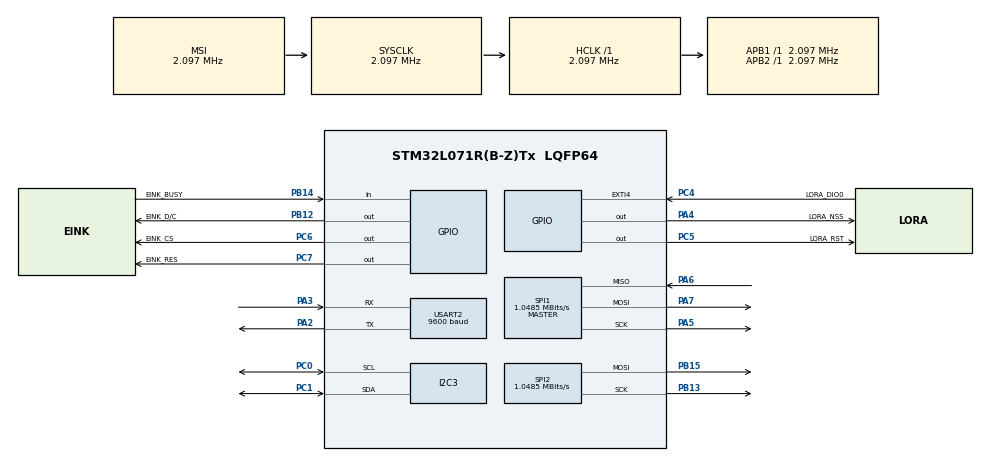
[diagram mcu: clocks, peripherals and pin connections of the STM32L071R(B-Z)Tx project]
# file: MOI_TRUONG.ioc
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I2C3.Timing=0x00000608
Mcu.Family=STM32L0
Mcu.Name=STM32L071R(B-Z)Tx
Mcu.Package=LQFP64
PA13.Mode=Serial_Wire
PA13.Signal=SYS_SWDIO
PA14.Mode=Serial_Wire
PA14.Signal=SYS_SWCLK
PA2.Mode=Asynchronous
PA2.Signal=USART2_TX
PA3.Mode=Asynchronous
PA3.Signal=USART2_RX
PA4.GPIO_Label=LORA_NSS
PA4.GPIO_PuPd=GPIO_PULLUP
PA4.PinState=GPIO_PIN_SET
PA4.Signal=GPIO_Output
PA5.Mode=Full_Duplex_Master
PA5.Signal=SPI1_SCK
PA6.Mode=Full_Duplex_Master
PA6.Signal=SPI1_MISO
PA7.Mode=Full_Duplex_Master
PA7.Signal=SPI1_MOSI
PB12.GPIO_Label=EINK_D/C
PB12.GPIO_ModeDefaultOutputPP=GPIO_MODE_OUTPUT_PP
PB12.GPIO_PuPd=GPIO_PULLUP
PB12.PinState=GPIO_PIN_SET
PB12.Signal=GPIO_Output
PB13.Mode=TX_Only_Simplex_Unidirect_Master
PB13.Signal=SPI2_SCK
PB14.GPIO_Label=EINK_BUSY
PB14.Signal=GPIO_Input
PB15.Mode=TX_Only_Simplex_Unidirect_Master
PB15.Signal=SPI2_MOSI
PC0.Mode=I2C
PC0.Signal=I2C3_SCL
PC1.Mode=I2C
PC1.Signal=I2C3_SDA
PC4.GPIO_Label=LORA_DIO0
PC4.GPIO_ModeDefaultEXTI=GPIO_MODE_IT_RISING
PC4.GPIO_PuPd=GPIO_PULLDOWN
PC4.Signal=GPXTI4
PC5.GPIO_Label=LORA_RST
PC5.GPIO_PuPd=GPIO_PULLUP
PC5.PinState=GPIO_PIN_SET
PC5.Signal=GPIO_Output
PC6.GPIO_Label=EINK_CS
PC6.GPIO_PuPd=GPIO_PULLUP
PC6.PinState=GPIO_PIN_SET
PC6.Signal=GPIO_Output
PC7.GPIO_Label=EINK_RES
PC7.GPIO_PuPd=GPIO_PULLUP
PC7.PinState=GPIO_PIN_SET
PC7.Signal=GPIO_Output
ProjectManager.HeapSize=0x200
ProjectManager.StackSize=0x400
ProjectManager.TargetToolchain=CMake
RCC.AHBFreq_Value=2097000
RCC.APB1Freq_Value=2097000
RCC.APB1TimFreq_Value=2097000
RCC.APB2Freq_Value=2097000
RCC.APB2TimFreq_Value=2097000
RCC.HSE_VALUE=8000000
RCC.HSI16_VALUE=16000000
RCC.HSI_VALUE=16000000
RCC.LSE_VALUE=32768
RCC.MSI_VALUE=2097000
RCC.PWR_Regulator_Voltage_Scale=PWR_REGULATOR_VOLTAGE_SCALE3
RCC.SYSCLKFreq_VALUE=2097000
RCC.VCOOutputFreq_Value=48000000
SPI1.CalculateBaudRate=1.0485 MBits/s
SPI1.Direction=SPI_DIRECTION_2LINES
SPI1.Mode=SPI_MODE_MASTER
SPI1.VirtualType=VM_MASTER
SPI2.CalculateBaudRate=1.0485 MBits/s
SPI2.Direction=SPI_DIRECTION_2LINES
SPI2.Mode=SPI_MODE_MASTER
SPI2.VirtualType=VM_MASTER
USART2.BaudRate=9600
USART2.VirtualMode-Asynchronous=VM_ASYNC
VP_RTC_VS_RTC_Activate.Mode=RTC_Enabled
VP_RTC_VS_RTC_WakeUp_intern.Mode=WakeUp
board=custom

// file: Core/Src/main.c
/* USER CODE BEGIN Header */
/**
  ******************************************************************************
  * @file           : main.c
  * @brief          : Main program body
  ******************************************************************************
  * @attention
  *
  * Copyright (c) 2026 STMicroelectronics.
  * All rights reserved.
  *
  * This software is licensed under terms that can be found in the LICENSE file
  * in the root directory of this software component.
  * If no LICENSE file comes with this software, it is provided AS-IS.
  *
  ******************************************************************************
  */
/* USER CODE END Header */
#include "main.h"

/* USER CODE BEGIN Includes */
#include "bme280.h"
#include "sx1278.h"
#include "eink_display.h"
#include "power_manager.h"
#include "cmd.h"
#include <stdio.h>
#include <string.h>
/* USER CODE END Includes */

I2C_HandleTypeDef hi2c3;

RTC_HandleTypeDef hrtc;

SPI_HandleTypeDef hspi1;
SPI_HandleTypeDef hspi2;

UART_HandleTypeDef huart2;

/* USER CODE BEGIN PV */

#define STATION_ID 0x01

static const char *lora_mode_label(SX1278_Config cfg)
{
    switch (cfg) {
    case SX1278_CFG_POWER:       return "LoRa:Pwr";
    case SX1278_CFG_BALANCED:    return "LoRa:Bal";
    case SX1278_CFG_PERFORMANCE: return "LoRa:Perf";
    default:                     return "LoRa: ?";
    }
}

BME280_HandleTypeDef bme280;
BME280_Data sensor_data;
char print_buf[128];

/* USER CODE END PV */

void SystemClock_Config(void);

static void MX_GPIO_Init(void);

static void MX_I2C3_Init(void);

static void MX_SPI1_Init(void);

static void MX_SPI2_Init(void);

static void MX_USART2_UART_Init(void);

static void MX_RTC_Init(void);

int main(void)
{

    /* MCU Configuration--------------------------------------------------------*/

    /* Reset of all peripherals, Initializes the Flash interface and the Systick. */
    HAL_Init();

    /* Configure the system clock */
    SystemClock_Config();

    /* Initialize all configured peripherals */
    MX_GPIO_Init();
    MX_I2C3_Init();
    MX_SPI1_Init();
    MX_SPI2_Init();
    MX_USART2_UART_Init();
    MX_RTC_Init();
    CMD_Init(&huart2);

    HAL_UART_Transmit(&huart2, (uint8_t *)"cmd ok\r\n", 8, 1000);

    PM_Init();
    HAL_UART_Transmit(&huart2, (uint8_t *)"pm ok\r\n", 7, 1000);

    if (!BME280_Init(&bme280, &hi2c3, BME280_I2C_ADDR_PRIM))
    {
        Error_Handler();
    }
    HAL_UART_Transmit(&huart2, (uint8_t *)"bme ok\r\n", 8, 1000);

    if (!SX1278_Init(g_lora_cfg))
    {
        Error_Handler();
    }

    {
        const char *mode = lora_mode_label(g_lora_cfg);
        snprintf(print_buf, sizeof(print_buf), "lora:%s\r\n", mode);
        HAL_UART_Transmit(&huart2, (uint8_t *)print_buf, strlen(print_buf), 1000);
    }

    {
        EINK_Config eink_cfg;
        eink_cfg.width = EINK_WIDTH;
        eink_cfg.height = EINK_HEIGHT;
        EINK_Init(&eink_cfg);
    }
    EINK_Clear();
    EINK_DrawStringScaled((200 - 12*12)/2, 86, "Booting...", 2);
    EINK_Update();
    EINK_Sleep();
    HAL_UART_Transmit(&huart2, (uint8_t *)"rdy\r\n", 5, 1000);

    /* USER CODE END 2 */

    /* Infinite loop */
    while (1)
    {

        /* USER CODE BEGIN 3 */

        BME280_ReadAll(&bme280, &sensor_data);
        sensor_data.temperature += g_offset_temp;
        sensor_data.humidity    += g_offset_hum;
        sensor_data.pressure    += g_offset_pres;

        const int t = (int) sensor_data.temperature;
        const int t_d = (int) ((sensor_data.temperature - (float) t) * 10.0f);
        const int h = (int) sensor_data.humidity;
        int p_kpa = (int)(sensor_data.pressure / 1000.0f);
        int p_dec = ((int)(sensor_data.pressure / 100.0f) % 10);

        snprintf(print_buf, sizeof(print_buf),
                 "%s  Temp:%d.%dC  Hum:%d%%  Pres:%d.%dkPa\r\n",
                 lora_mode_label(g_lora_cfg),
                 t, t_d < 0 ? -t_d : t_d, h, p_kpa, p_dec);
        HAL_UART_Transmit(&huart2, (uint8_t *)print_buf, strlen(print_buf), 1000);

        uint8_t payload[10];
        {
            int16_t te = (int16_t)(sensor_data.temperature * 10.0f);
            int16_t he = (int16_t)(sensor_data.humidity * 10.0f);
            uint16_t pe = (uint16_t)(sensor_data.pressure / 10.0f);

            payload[0] = STATION_ID;
            payload[1] = (te >> 8) & 0xFF;
            payload[2] = te & 0xFF;
            payload[3] = (he >> 8) & 0xFF;
            payload[4] = he & 0xFF;
            payload[5] = (pe >> 8) & 0xFF;
            payload[6] = pe & 0xFF;
            payload[7] = 0;
            for (int i = 0; i < 7; i++) payload[7] ^= payload[i];
            payload[8] = (uint8_t)(HAL_GetTick() & 0xFF);
            payload[9] = 0xAA;
        }

        uint8_t ver = SX1278_ReadVersion();
        uint8_t mode = SX1278_ReadReg(SX1278_REG_OP_MODE);
        bool tx_ok = SX1278_SendPacket(payload, 10, g_lora_cfg);
        snprintf(print_buf, sizeof(print_buf), "Ver:0x%02X Mode:0x%02X Tx:%s\r\n",
                 ver, mode, tx_ok ? "OK" : "FAIL");
        HAL_UART_Transmit(&huart2, (uint8_t *)print_buf, strlen(print_buf), 1000);

        {
            int cx;
            EINK_Clear();
            snprintf(print_buf, sizeof(print_buf), "Station #01");
            cx = (EINK_WIDTH - (int)strlen(print_buf) * 12) / 2;
            EINK_DrawStringScaled(cx > 0 ? cx : 0, 8, print_buf, 2);
            snprintf(print_buf, sizeof(print_buf), "Temp: %d.%d C",
                     t, t_d < 0 ? -t_d : t_d);
            cx = (EINK_WIDTH - (int)strlen(print_buf) * 12) / 2;
            EINK_DrawStringScaled(cx > 0 ? cx : 0, 36, print_buf, 2);
            snprintf(print_buf, sizeof(print_buf), "Humidity: %d %%", h);
            cx = (EINK_WIDTH - (int)strlen(print_buf) * 12) / 2;
            EINK_DrawStringScaled(cx > 0 ? cx : 0, 62, print_buf, 2);
            snprintf(print_buf, sizeof(print_buf), "Pres: %d.%d kPa", p_kpa, p_dec);
            cx = (EINK_WIDTH - (int)strlen(print_buf) * 12) / 2;
            EINK_DrawStringScaled(cx > 0 ? cx : 0, 88, print_buf, 2);
            snprintf(print_buf, sizeof(print_buf), "%s", lora_mode_label(g_lora_cfg));
            cx = (EINK_WIDTH - (int)strlen(print_buf) * 12) / 2;
            EINK_DrawStringScaled(cx > 0 ? cx : 0, 114, print_buf, 2);
        }
        EINK_Update();
        EINK_Sleep();

        CMD_Poll();

        {
            uint32_t wait_end = HAL_GetTick() + g_interval_ms;
            while (HAL_GetTick() < wait_end) {
                CMD_Poll();
                if (CMD_ConsumeDirty()) break;
                HAL_Delay(100);
            }
        }
    }
    /* USER CODE END 3 */
}

void SystemClock_Config(void)
{
    RCC_OscInitTypeDef RCC_OscInitStruct = {0};
    RCC_ClkInitTypeDef RCC_ClkInitStruct = {0};
    RCC_PeriphCLKInitTypeDef PeriphClkInit = {0};

    /** Configure the main internal regulator output voltage
    */
    __HAL_PWR_VOLTAGESCALING_CONFIG(PWR_REGULATOR_VOLTAGE_SCALE3);

    /** Initializes the RCC Oscillators according to the specified parameters
    * in the RCC_OscInitTypeDef structure.
    */
    RCC_OscInitStruct.OscillatorType = RCC_OSCILLATORTYPE_LSI | RCC_OSCILLATORTYPE_MSI;
    RCC_OscInitStruct.LSIState = RCC_LSI_ON;
    RCC_OscInitStruct.MSIState = RCC_MSI_ON;
    RCC_OscInitStruct.MSICalibrationValue = 0;
    RCC_OscInitStruct.MSIClockRange = RCC_MSIRANGE_5;
    RCC_OscInitStruct.PLL.PLLState = RCC_PLL_NONE;
    if (HAL_RCC_OscConfig(&RCC_OscInitStruct) != HAL_OK)
    {
        Error_Handler();
    }

    /** Initializes the CPU, AHB and APB buses clocks
    */
    RCC_ClkInitStruct.ClockType = RCC_CLOCKTYPE_HCLK | RCC_CLOCKTYPE_SYSCLK
                                  | RCC_CLOCKTYPE_PCLK1 | RCC_CLOCKTYPE_PCLK2;
    RCC_ClkInitStruct.SYSCLKSource = RCC_SYSCLKSOURCE_MSI;
    RCC_ClkInitStruct.AHBCLKDivider = RCC_SYSCLK_DIV1;
    RCC_ClkInitStruct.APB1CLKDivider = RCC_HCLK_DIV1;
    RCC_ClkInitStruct.APB2CLKDivider = RCC_HCLK_DIV1;

    if (HAL_RCC_ClockConfig(&RCC_ClkInitStruct, FLASH_LATENCY_0) != HAL_OK)
    {
        Error_Handler();
    }
    PeriphClkInit.PeriphClockSelection = RCC_PERIPHCLK_USART2 | RCC_PERIPHCLK_I2C3
                                         | RCC_PERIPHCLK_RTC;
    PeriphClkInit.Usart2ClockSelection = RCC_USART2CLKSOURCE_PCLK1;
    PeriphClkInit.I2c3ClockSelection = RCC_I2C3CLKSOURCE_PCLK1;
    PeriphClkInit.RTCClockSelection = RCC_RTCCLKSOURCE_LSI;
    if (HAL_RCCEx_PeriphCLKConfig(&PeriphClkInit) != HAL_OK)
    {
        Error_Handler();
    }
}

static void MX_I2C3_Init(void)
{

    hi2c3.Instance = I2C3;
    hi2c3.Init.Timing = 0x00000608;
    hi2c3.Init.OwnAddress1 = 0;
    hi2c3.Init.AddressingMode = I2C_ADDRESSINGMODE_7BIT;
    hi2c3.Init.DualAddressMode = I2C_DUALADDRESS_DISABLE;
    hi2c3.Init.OwnAddress2 = 0;
    hi2c3.Init.OwnAddress2Masks = I2C_OA2_NOMASK;
    hi2c3.Init.GeneralCallMode = I2C_GENERALCALL_DISABLE;
    hi2c3.Init.NoStretchMode = I2C_NOSTRETCH_DISABLE;
    if (HAL_I2C_Init(&hi2c3) != HAL_OK)
    {
        Error_Handler();
    }

    /** Configure Analogue filter
    */
    if (HAL_I2CEx_ConfigAnalogFilter(&hi2c3, I2C_ANALOGFILTER_ENABLE) != HAL_OK)
    {
        Error_Handler();
    }

    /** Configure Digital filter
    */
    if (HAL_I2CEx_ConfigDigitalFilter(&hi2c3, 0) != HAL_OK)
    {
        Error_Handler();
    }
}

static void MX_RTC_Init(void)
{

    /** Initialize RTC Only
    */
    hrtc.Instance = RTC;
    hrtc.Init.HourFormat = RTC_HOURFORMAT_24;
    hrtc.Init.AsynchPrediv = 127;
    hrtc.Init.SynchPrediv = 255;
    hrtc.Init.OutPut = RTC_OUTPUT_DISABLE;
    hrtc.Init.OutPutRemap = RTC_OUTPUT_REMAP_NONE;
    hrtc.Init.OutPutPolarity = RTC_OUTPUT_POLARITY_HIGH;
    hrtc.Init.OutPutType = RTC_OUTPUT_TYPE_OPENDRAIN;
    if (HAL_RTC_Init(&hrtc) != HAL_OK)
    {
        Error_Handler();
    }

    /** Enable the WakeUp
    */
    if (HAL_RTCEx_SetWakeUpTimer(&hrtc, 0, RTC_WAKEUPCLOCK_RTCCLK_DIV16) != HAL_OK)
    {
        Error_Handler();
    }
}

static void MX_SPI1_Init(void)
{

    /* SPI1 parameter configuration*/
    hspi1.Instance = SPI1;
    hspi1.Init.Mode = SPI_MODE_MASTER;
    hspi1.Init.Direction = SPI_DIRECTION_2LINES;
    hspi1.Init.DataSize = SPI_DATASIZE_8BIT;
    hspi1.Init.CLKPolarity = SPI_POLARITY_LOW;
    hspi1.Init.CLKPhase = SPI_PHASE_1EDGE;
    hspi1.Init.NSS = SPI_NSS_SOFT;
    hspi1.Init.BaudRatePrescaler = SPI_BAUDRATEPRESCALER_2;
    hspi1.Init.FirstBit = SPI_FIRSTBIT_MSB;
    hspi1.Init.TIMode = SPI_TIMODE_DISABLE;
    hspi1.Init.CRCCalculation = SPI_CRCCALCULATION_DISABLE;
    hspi1.Init.CRCPolynomial = 7;
    if (HAL_SPI_Init(&hspi1) != HAL_OK)
    {
        Error_Handler();
    }
}

static void MX_SPI2_Init(void)
{

    /* SPI2 parameter configuration*/
    hspi2.Instance = SPI2;
    hspi2.Init.Mode = SPI_MODE_MASTER;
    hspi2.Init.Direction = SPI_DIRECTION_2LINES;
    hspi2.Init.DataSize = SPI_DATASIZE_8BIT;
    hspi2.Init.CLKPolarity = SPI_POLARITY_LOW;
    hspi2.Init.CLKPhase = SPI_PHASE_1EDGE;
    hspi2.Init.NSS = SPI_NSS_SOFT;
    hspi2.Init.BaudRatePrescaler = SPI_BAUDRATEPRESCALER_2;
    hspi2.Init.FirstBit = SPI_FIRSTBIT_MSB;
    hspi2.Init.TIMode = SPI_TIMODE_DISABLE;
    hspi2.Init.CRCCalculation = SPI_CRCCALCULATION_DISABLE;
    hspi2.Init.CRCPolynomial = 7;
    if (HAL_SPI_Init(&hspi2) != HAL_OK)
    {
        Error_Handler();
    }
}

static void MX_USART2_UART_Init(void)
{

    huart2.Instance = USART2;
    huart2.Init.BaudRate = 9600;
    huart2.Init.WordLength = UART_WORDLENGTH_8B;
    huart2.Init.StopBits = UART_STOPBITS_1;
    huart2.Init.Parity = UART_PARITY_NONE;
    huart2.Init.Mode = UART_MODE_TX_RX;
    huart2.Init.HwFlowCtl = UART_HWCONTROL_NONE;
    huart2.Init.OverSampling = UART_OVERSAMPLING_16;
    huart2.Init.OneBitSampling = UART_ONE_BIT_SAMPLE_DISABLE;
    huart2.AdvancedInit.AdvFeatureInit = UART_ADVFEATURE_NO_INIT;
    if (HAL_UART_Init(&huart2) != HAL_OK)
    {
        Error_Handler();
    }
}

static void MX_GPIO_Init(void)
{
    GPIO_InitTypeDef GPIO_InitStruct = {0};

    /* GPIO Ports Clock Enable */
    __HAL_RCC_GPIOC_CLK_ENABLE();
    __HAL_RCC_GPIOA_CLK_ENABLE();
    __HAL_RCC_GPIOB_CLK_ENABLE();

    /*Configure GPIO pin Output Level */
    HAL_GPIO_WritePin(LORA_NSS_GPIO_Port, LORA_NSS_Pin, GPIO_PIN_SET);

    /*Configure GPIO pin Output Level */
    HAL_GPIO_WritePin(GPIOC, LORA_RST_Pin | EINK_CS_Pin | EINK_RES_Pin, GPIO_PIN_SET);

    /*Configure GPIO pin Output Level */
    HAL_GPIO_WritePin(EINK_D_C_GPIO_Port, EINK_D_C_Pin, GPIO_PIN_SET);

    /*Configure GPIO pin : LORA_NSS_Pin */
    GPIO_InitStruct.Pin = LORA_NSS_Pin;
    GPIO_InitStruct.Mode = GPIO_MODE_OUTPUT_PP;
    GPIO_InitStruct.Pull = GPIO_PULLUP;
    GPIO_InitStruct.Speed = GPIO_SPEED_FREQ_LOW;
    HAL_GPIO_Init(LORA_NSS_GPIO_Port, &GPIO_InitStruct);

    /*Configure GPIO pin : LORA_DIO0_Pin */
    GPIO_InitStruct.Pin = LORA_DIO0_Pin;
    GPIO_InitStruct.Mode = GPIO_MODE_IT_RISING;
    GPIO_InitStruct.Pull = GPIO_PULLDOWN;
    HAL_GPIO_Init(LORA_DIO0_GPIO_Port, &GPIO_InitStruct);

    /*Configure GPIO pins : LORA_RST_Pin EINK_CS_Pin EINK_RES_Pin */
    GPIO_InitStruct.Pin = LORA_RST_Pin | EINK_CS_Pin | EINK_RES_Pin;
    GPIO_InitStruct.Mode = GPIO_MODE_OUTPUT_PP;
    GPIO_InitStruct.Pull = GPIO_PULLUP;
    GPIO_InitStruct.Speed = GPIO_SPEED_FREQ_LOW;
    HAL_GPIO_Init(GPIOC, &GPIO_InitStruct);

    /*Configure GPIO pin : EINK_D_C_Pin */
    GPIO_InitStruct.Pin = EINK_D_C_Pin;
    GPIO_InitStruct.Mode = GPIO_MODE_OUTPUT_PP;
    GPIO_InitStruct.Pull = GPIO_PULLUP;
    GPIO_InitStruct.Speed = GPIO_SPEED_FREQ_LOW;
    HAL_GPIO_Init(EINK_D_C_GPIO_Port, &GPIO_InitStruct);

    /*Configure GPIO pin : EINK_BUSY_Pin */
    GPIO_InitStruct.Pin = EINK_BUSY_Pin;
    GPIO_InitStruct.Mode = GPIO_MODE_INPUT;
    GPIO_InitStruct.Pull = GPIO_NOPULL;
    HAL_GPIO_Init(EINK_BUSY_GPIO_Port, &GPIO_InitStruct);

}

void Error_Handler(void)
{
    __disable_irq();
    while (1)
    {
    }
}
